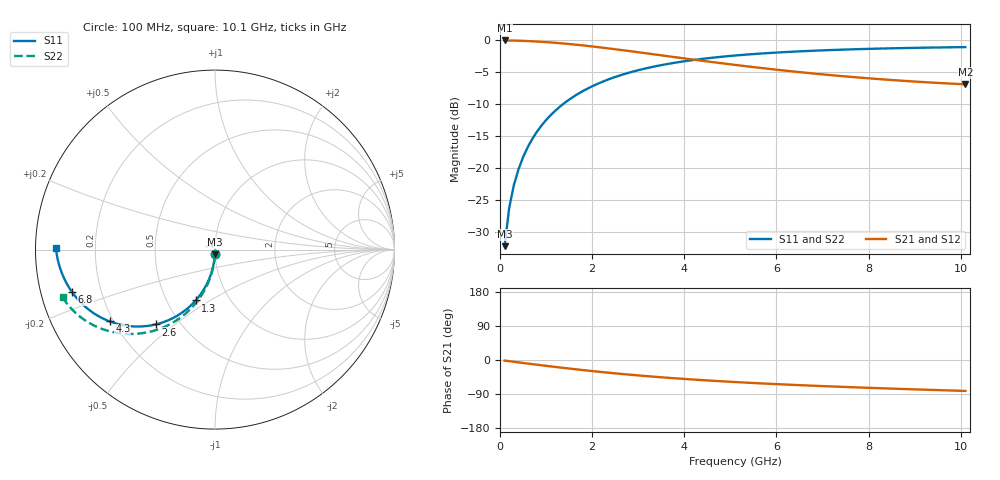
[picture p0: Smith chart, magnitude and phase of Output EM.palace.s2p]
! Generated by circuitRF - EM: Palace
! circuitRF-EM setup: Output EM
! circuitRF-EM layout: Output.c3d
! circuitRF-EM written: 2026-11-22 02:58:20Z
! circuitRF-EM stamp: 20261122T025820Z-add43d1c
! circuitRF-EM geometry: 3027f61cedc88da8
! circuitRF-EM mesh settings: 7b51b9526e65a37d
! circuitRF-EM ports: 2f5e379477ac9da7
! circuitRF-EM model: Palace 0.18.1 (0dc74cd, schema 1-7-0)
! Port[1] = P1
! Port[2] = P2
! circuitRF-EM port 1: 'port/1' from 'U1/Die Attach/1' to 'U1/Pad Metal/1', lumped, 50 Ohm
! circuitRF-EM port 2: 'port/2' from 'flange' to 'lead', lumped, 50 Ohm
! Port 1 = P01  P1  net=?  ref=U1/Die Attach/1  uncalibrated
! Port 2 = P02  P2  net=?  ref=flange  uncalibrated
! DC: none, the lowest row is 100 MHz; a circuit's DC solve through this file takes that row as DC
! circuitRF-EM 3D mesh: 37,611 elements initially, 37,611 finally, 0 adaptive pass(es), element order 2
! circuitRF-EM 3D operating temperature: 20 C
! circuitRF-EM 3D run: preset Draft; 37611 -> 37611 tetrahedra; 260094 unknowns; 0 refinement pass(es); 4 frequency sample(s)
! circuitRF-EM 3D run cost: wall 86 s; Palace peak memory 6.1 GB
! circuitRF-EM: re-running the EM setup rewrites this file. If circuitRF reports it as stale, the layout's cross-section changed after this file was written.
# GHz S RI R 50
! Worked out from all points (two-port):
!   101 points, 100 MHz to 10.1 GHz, reference 50 ohm
!   highest |S21| = 0.00 dB at 100 MHz (marker M1); lowest = -6.9 dB at 10.1 GHz (marker M2)
!   |S21| within 3 dB of the highest: start of sweep to 4.199 GHz
!   lowest |S11| = -32.2 dB at 100 MHz (marker M3), VSWR 1.05, Z = 49.9 - j2.45 ohm
!   |S11| at or under -10 dB: start of sweep to 1.364 GHz
!   |S22| runs from -32.2 to -1.0 dB; largest |S21 - S12| = 0
!   S11 on the Smith chart (normalised r, x): 100 MHz: 1.00, -0.05; 1.3 GHz: 0.69, -0.43; 2.6 GHz: 0.37, -0.43; 4.3 GHz: 0.18, -0.30; 6.8 GHz: 0.09, -0.14; 10.1 GHz: 0.06, +0.01
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0.1  -0.00065 -0.0245  0.9991 -0.0274  0.9991 -0.0274  -0.000585 -0.0245
0.2  -0.00281 -0.049  0.997 -0.0547  0.997 -0.0547  -0.00255 -0.049
0.3  -0.00635 -0.0732  0.9936 -0.0817  0.9936 -0.0817  -0.00577 -0.0733
0.4  -0.0113 -0.0971  0.9888 -0.1085  0.9888 -0.1085  -0.0102 -0.0973
0.5  -0.0175 -0.1206  0.9828 -0.1348  0.9828 -0.1348  -0.0159 -0.1209
0.6  -0.025 -0.1436  0.9755 -0.1607  0.9755 -0.1607  -0.0227 -0.144
0.8  -0.0436 -0.1876  0.9575 -0.2105  0.9575 -0.2105  -0.0397 -0.1886
1  -0.0665 -0.2286  0.9354 -0.2575  0.9354 -0.2575  -0.0605 -0.2304
1.3  -0.1077 -0.2834  0.8957 -0.3215  0.8957 -0.3215  -0.0981 -0.2871
1.5  -0.1387 -0.315  0.8657 -0.3595  0.8657 -0.3595  -0.1264 -0.3204
1.8  -0.1889 -0.3546  0.8172 -0.4092  0.8172 -0.4092  -0.1722 -0.3634
2.2  -0.2595 -0.3933  0.7489 -0.462  0.7489 -0.462  -0.2367 -0.4079
2.6  -0.3306 -0.4169  0.6799 -0.5006  0.6799 -0.5006  -0.3017 -0.4388
3  -0.3991 -0.4275  0.6131 -0.5269  0.6131 -0.5269  -0.3646 -0.4581
3.5  -0.4785 -0.4261  0.5352 -0.546  0.5352 -0.546  -0.4377 -0.4689
4.3  -0.5874 -0.3998  0.4272 -0.5544  0.4272 -0.5544  -0.5385 -0.465
5.1  -0.6737 -0.3556  0.3396 -0.5465  0.3396 -0.5465  -0.6194 -0.4453
5.9  -0.7402 -0.3023  0.2696 -0.5311  0.2696 -0.5311  -0.683 -0.4181
6.8  -0.7959 -0.2373  0.2075 -0.5107  0.2075 -0.5107  -0.738 -0.3841
7.6  -0.8319 -0.178  0.1633 -0.4927  0.1633 -0.4927  -0.7756 -0.3536
8.5  -0.8604 -0.1108  0.1227 -0.4744  0.1227 -0.4744  -0.8083 -0.3205
10.1  -0.8865 0.00908  0.0662 -0.4487  0.0662 -0.4487  -0.8482 -0.2662
